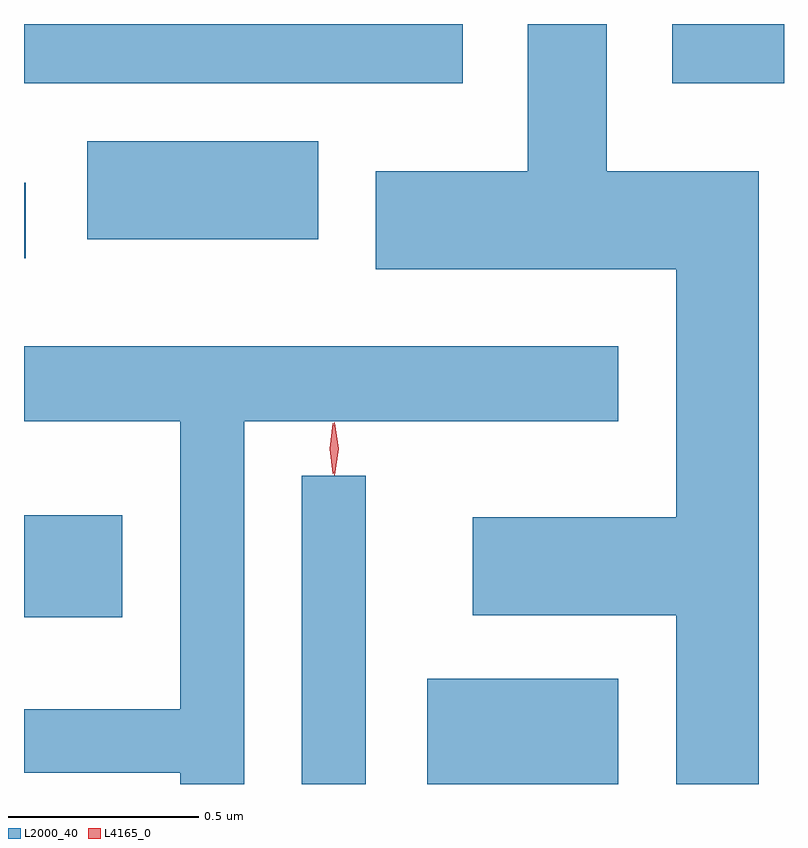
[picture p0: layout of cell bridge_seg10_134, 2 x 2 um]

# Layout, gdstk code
import gdstk
lib = gdstk.Library(unit=1e-6, precision=1e-09)
def R(c, l, rs):  # rectangles x0, y0, x1, y1
    for r in rs: c.add(gdstk.rectangle(r[:2], r[2:], *l))
def P(c, l, *ps):  # polygons
    for p in ps: c.add(gdstk.Polygon(p, *l))
L2000_40 = (2000, 40)
L4165_0 = (4165, 0)

bridge_seg10_134 = lib.new_cell('bridge_seg10_134')
R(bridge_seg10_134, L2000_40, [(1627.041,2141.362,1627.209,2142.173), (1627.371,2141.362,1627.874,2141.639), (1626.31,2141.801,1626.569,2142.069), (1626.31,2142.746,1626.314,2142.944), (1626.476,2142.796,1627.084,2143.054), (1626.31,2143.206,1627.464,2143.362), (1628.016,2143.206,1628.31,2143.362)])
P(bridge_seg10_134, L2000_40, [(1628.244,2142.974),(1627.844,2142.974),(1627.844,2143.362),(1627.636,2143.362),(1627.636,2142.974),(1627.236,2142.974),(1627.236,2142.716),(1628.026,2142.716),(1628.026,2142.064),(1627.491,2142.064),(1627.491,2141.806),(1628.026,2141.806),(1628.026,2141.362),(1628.244,2141.362)],
  [(1626.889,2142.316),(1627.874,2142.316),(1627.874,2142.514),(1626.31,2142.514),(1626.31,2142.316),(1626.721,2142.316),(1626.721,2141.559),(1626.31,2141.559),(1626.31,2141.391),(1626.721,2141.391),(1626.721,2141.362),(1626.889,2141.362)])
P(bridge_seg10_134, L4165_0, [(1627.128,2142.174),(1627.127,2142.175),(1627.118,2142.244),(1627.127,2142.313),(1627.128,2142.314),(1627.128,2142.313),(1627.138,2142.244),(1627.128,2142.175)],
  [(1627.123,2142.178),(1627.114,2142.244),(1627.123,2142.311),(1627.124,2142.311),(1627.124,2142.311),(1627.134,2142.244),(1627.124,2142.178),(1627.124,2142.178)])

lib.write_gds('bridge_seg10_134.gds')
